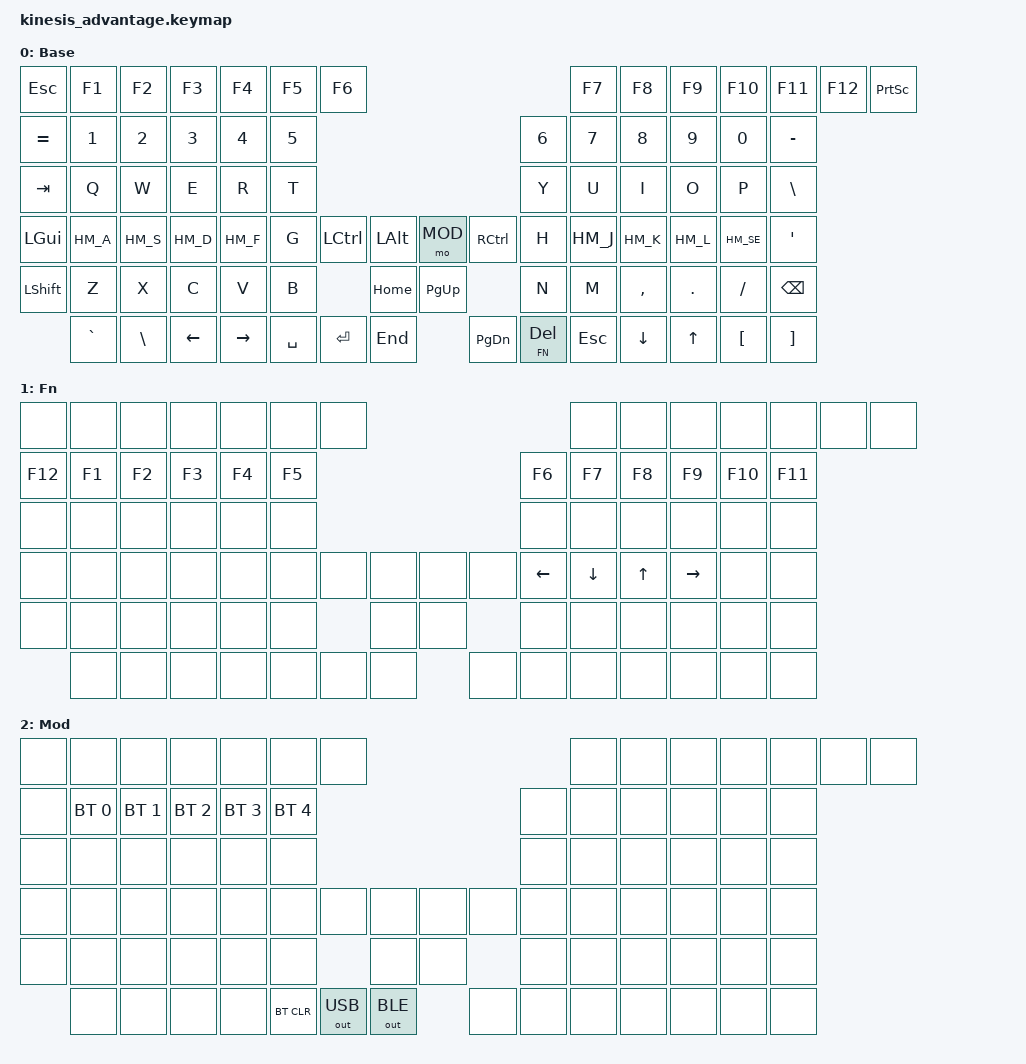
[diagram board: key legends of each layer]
// This file was generated from a template. Edit it to match your keyboard.
// See https://zmk.dev/docs/development/hardware-integration/new-shield for more instructions.

#include <behaviors.dtsi>
#include <dt-bindings/zmk/keys.h>
#include <dt-bindings/zmk/bt.h>
#include <dt-bindings/zmk/outputs.h>

#define DEFAULT 0
#define FN 1
#define MOD 2

#define HM_A hml LGUI A
#define HM_S hml LALT S
#define HM_D hml LCTRL D
#define HM_F hml LSHIFT F

#define HM_J hmr LSHIFT J
#define HM_K hmr LCTRL K
#define HM_L hmr LALT L
#define HM_SE hmr LGUI SEMI

/ {
    behaviors {
        lrt: my_layer_tap {
            compatible = "zmk,behavior-hold-tap";
            #binding-cells = <2>;
            flavor = "tap-preferred";
            tapping-term-ms = <200>;
            bindings = <&mo>, <&kp>;
            display-name = "Layer-Tap";
        };
        hml: home_row_mod_left {
            compatible = "zmk,behavior-hold-tap";
            #binding-cells = <2>;
            flavor = "tap-preferred";
            require-prior-idle-ms = <170>; // 150
            tapping-term-ms = <170>; // 200
            quick-tap-ms = <175>;
            bindings = <&kp>, <&kp>;
            hold-trigger-key-positions = <20>,<21>,<22>,<23>,<24>,<25>,<32>,<33>,<34>,<35>,<36>,<37>,<48>,<49>,<50>,<51>,<52>,<53>,<62>,<63>,<64>,<65>,<66>,<67>,<78>,<79>,<80>,<81>; // List of keys on the right side of the keyboard
            hold-trigger-on-release;
        };
        hmr: home_row_mod_right {
            compatible = "zmk,behavior-hold-tap";
            #binding-cells = <2>;
            flavor = "tap-preferred";
            require-prior-idle-ms = <170>; // 150
            tapping-term-ms = <170>; // 200
            quick-tap-ms = <175>;
            bindings = <&kp>, <&kp>;
            hold-trigger-key-positions = <14>,<15>,<16>,<17>,<18>,<19>,<26>,<28>,<29>,<30>,<31>,<38>,<39>,<40>,<41>,<42>,<43>,<54>,<55>,<56>,<57>,<58>,<59>,<68>,<69>,<70>,<71>; // List of keys on the left side of the keyboard
            hold-trigger-on-release;
        };
        hm: homerow_mods {
            compatible = "zmk,behavior-hold-tap";
            label = "HOMEROW_MODS";
            #binding-cells = <2>;
            tapping-term-ms = <200>;
            quick_tap_ms = <175>;
            flavor = "tap-preferred";
            bindings = <&kp>, <&kp>;
        };

    };
    // Define a default keymap here.
    // See https://zmk.dev/docs/development/hardware-integration/new-shield#default-keymap.
    keymap {
        compatible = "zmk,keymap";

        default_layer {
            display-name = "Base";
            bindings = <
                // f keys row
                // 0
                &kp ESC   &kp F1    &kp F2   &kp F3   &kp F4     &kp F5 &kp F6 &kp F7 &kp F8                                      &kp F9 &kp F10 &kp F11  &kp F12  &kp PSCRN
                // main rows
                // 14                                                                                                              // 20
                &kp EQUAL  &kp N1    &kp N2   &kp N3   &kp N4     &kp N5                                                           &kp N6 &kp N7 &kp N8    &kp N9   &kp N0   &kp MINUS
                // 26                                                                                                              // 32
                &kp TAB    &kp Q     &kp W    &kp E    &kp R      &kp T                                                            &kp Y  &kp U  &kp I     &kp O    &kp P    &kp BSLH
                // 38                                                       // 44                                            // 48
                &kp LGUI &HM_A &HM_S  &HM_D &HM_F      &kp G           &kp LCTRL &kp LALT &mo MOD     &kp RCTRL           &kp H  &HM_J  &HM_K     &HM_L    &HM_SE &kp SQT
                // 54                                                                       // 60                                  // 62
                &kp LSHFT  &kp Z     &kp X    &kp C    &kp V      &kp B                     &kp HOME &kp PG_UP                     &kp N  &kp M  &kp COMMA &kp DOT  &kp FSLH &kp BSPC
                           // 68                                         // 72                                                            // 78
                           &kp GRAVE &kp BSLH &kp LEFT &kp RIGHT         &kp SPACE &kp ENTER  &kp END  &kp PG_DN &lrt FN DEL &kp ESC         &kp DOWN &kp UP  &kp LBKT &kp RBKT
            >;
	    };
	    fn {
            display-name = "Fn";
            bindings = <
                // f keys row
                &none &none        &none        &none        &none        &none        &none &none &none                              &none &none &none  &none &none
                // main rows
                &kp F12 &kp F1 &kp F2 &kp F3 &kp F4 &kp F5                                                      &kp F6   &kp F7   &kp F8 &kp F9    &kp F10 &kp F11
                &none   &none  &none  &none  &none  &none                                                       &none    &none    &none  &none     &none   &none
                &none   &none  &none  &none  &none  &none              &none &none &none &none                  &kp LEFT &kp DOWN &kp UP &kp RIGHT &none   &none
                &none   &none  &none  &none  &none  &none                    &none &none                        &none    &none    &none  &none     &none   &none
                        &none  &none  &none  &none                     &none &none &none &none &none &none               &none    &none  &none     &none
            >;
        };
	    mod {
            display-name = "Mod";
            bindings = <
                // f keys row
                &none &none        &none        &none        &none        &none        &none &none &none                              &none &none &none  &none &none
                // main rows
                &none &bt BT_SEL 0 &bt BT_SEL 1 &bt BT_SEL 2 &bt BT_SEL 3 &bt BT_SEL 4                                                &none &none &none  &none &none &none
                &none &none        &none        &none        &none        &none                                                       &none &none &none  &none &none &none
                &none &none        &none        &none        &none        &none              &none &none &none &none             &none &none &none  &none &none &none
                &none &none        &none        &none        &none        &none                    &none &none                        &none &none &none  &none &none &none
                      &none        &none        &none        &none                     &bt BT_CLR &out OUT_USB &out OUT_BLE &none &none &none                  &none &none  &none &none
            >;
        };
    };
};
